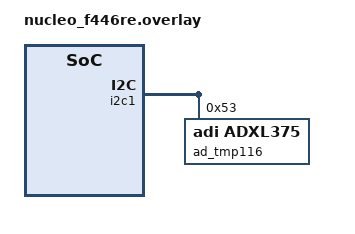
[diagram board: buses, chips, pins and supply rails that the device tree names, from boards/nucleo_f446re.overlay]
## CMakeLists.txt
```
# SPDX-License-Identifier: Apache-2.0

cmake_minimum_required(VERSION 3.20.0)
find_package(Zephyr REQUIRED HINTS $ENV{ZEPHYR_BASE})
project(adxl375)

FILE(GLOB app_sources src/*.c)
target_sources(app PRIVATE ${app_sources})
```

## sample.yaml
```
sample:
  name: Analog Devices ADXL375 Sensor Sample
tests:
  sample.sensor.adxl375:
    harness: console
    platform_allow: nucleo_f446re
    integration_platforms:
      - nucleo_f446re
    tags: sensors
    depends_on:
      - i2c
      - spi
    harness_config:
      type: one_line
      fixture: fixture_i2c_adxl375
```

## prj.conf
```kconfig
CONFIG_STDOUT_CONSOLE=y
CONFIG_I2C=y
CONFIG_SENSOR=y
CONFIG_SENSOR_INIT_PRIORITY=90
```

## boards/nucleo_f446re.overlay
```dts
/*
 * Copyright (c) 2023 Aaron Chan
 *
 * SPDX-License-Identifier: Apache-2.0
 */

&i2c1 {
	ad_tmp116: adi_adx375@53 {
		compatible = "adi,adxl375";
		reg = <0x53>;
		#address-cells = <1>;
		#size-cells = <0>;
	};

};
```

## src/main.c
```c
/*
 * Copyright (c) 2023 Aaron Chan
 *
 * SPDX-License-Identifier: Apache-2.0
 */

#include <zephyr/kernel.h>
#include <zephyr/device.h>
#include <zephyr/drivers/sensor.h>
#include <zephyr/drivers/eeprom.h>
// #include <zephyr/drivers/sensor/adxl375.h>
#include <zephyr/sys/printk.h>
#include <zephyr/sys/__assert.h>

#define ADXL375_NODE DT_COMPAT_GET_ANY_STATUS_OKAY(adi_adxl375)


int main(void)
{
	const struct device *const dev = DEVICE_DT_GET(ADXL375_NODE);
	struct sensor_value accel_x;
	struct sensor_value accel_y;
	struct sensor_value accel_z;

	__ASSERT(device_is_ready(dev), "ADXL375 device not ready");

	printk("Device %s - %p is ready\n", dev->name, dev);

	while (1) {
		int ret = sensor_sample_fetch(dev);
		if (ret) {
			printk("Failed to fetch measurements (%d)\n", ret);
			return 0;
		}

		sensor_channel_get(dev, SENSOR_CHAN_ACCEL_X, &accel_x);
		sensor_channel_get(dev, SENSOR_CHAN_ACCEL_Y, &accel_y);
		sensor_channel_get(dev, SENSOR_CHAN_ACCEL_Z, &accel_z);

		printk("X: %f\n", sensor_value_to_float(&accel_x));
		printk("Y: %f\n", sensor_value_to_float(&accel_y));
		printk("Z: %f\n", sensor_value_to_float(&accel_z));


		k_sleep(K_MSEC(1000));
	}
	return 0;
}
```
